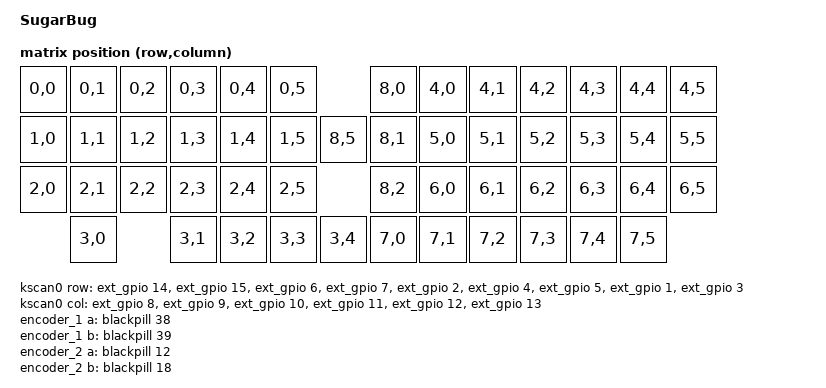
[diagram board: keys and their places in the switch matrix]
/*
 * Copyright (c) 2022 The ZMK Contributors
 *
 * SPDX-License-Identifier: MIT
 */

/dts-v1/;
#include <dt-bindings/zmk/matrix_transform.h>
#include <nordic/nrf52840_qiaa.dtsi>
#include "blackpill_pins.dtsi"
#include <dt-bindings/led/led.h>

/ {
    model = "SugarBug";
    compatible = "sugarbug";

    chosen {
        zephyr,code-partition = &code_partition;
        zephyr,sram = &sram0;
        zephyr,flash = &flash0;
        zephyr,console = &cdc_acm_uart;
        zephyr,display = &oled;
        zmk,kscan = &kscan0;
        zmk,matrix_transform = &default_transform;
        zmk,battery = &vbatt;
        zmk,underglow = &led_strip;
    };

    leds {
        compatible = "gpio-leds";
        blue_led: led_0 {
            gpios = <&gpio0 20 GPIO_ACTIVE_LOW>;
            label = "Blue LED";
        };
    };
    
    ext-power {
        compatible = "zmk,ext-power-generic";
        label = "EXT_POWER";
        control-gpios = <&gpio1 7 GPIO_ACTIVE_LOW>;
        init-delay-ms = <50>;
    };

    vbatt: vbatt {
        compatible = "zmk,battery-voltage-divider";
        label = "BATTERY";
        io-channels = <&adc 2>;
        output-ohms = <2000000>;
        full-ohms = <(2000000 + 820000)>;
    };
    
    kscan0: kscan {
        compatible = "zmk,kscan-gpio-matrix";
        label = "KSCAN";

        diode-direction = "row2col";
        debounce-scan-period-ms = <10>;
        row-gpios
            = <&ext_gpio 14 (GPIO_ACTIVE_LOW)>
            , <&ext_gpio 15 (GPIO_ACTIVE_LOW)>
            , <&ext_gpio 6  (GPIO_ACTIVE_LOW)>
            , <&ext_gpio 7  (GPIO_ACTIVE_LOW)>
            , <&ext_gpio 2  (GPIO_ACTIVE_LOW)>
            , <&ext_gpio 4  (GPIO_ACTIVE_LOW)>
            , <&ext_gpio 5  (GPIO_ACTIVE_LOW)>
            , <&ext_gpio 1  (GPIO_ACTIVE_LOW)>
            , <&ext_gpio 3  (GPIO_ACTIVE_LOW)>
            ;
        col-gpios
            = <&ext_gpio 8  (GPIO_ACTIVE_LOW | GPIO_PULL_UP)>
            , <&ext_gpio 9  (GPIO_ACTIVE_LOW | GPIO_PULL_UP)>
            , <&ext_gpio 10 (GPIO_ACTIVE_LOW | GPIO_PULL_UP)>
            , <&ext_gpio 11 (GPIO_ACTIVE_LOW | GPIO_PULL_UP)>
            , <&ext_gpio 12 (GPIO_ACTIVE_LOW | GPIO_PULL_UP)>
            , <&ext_gpio 13 (GPIO_ACTIVE_LOW | GPIO_PULL_UP)>
            ;
    };

    default_transform: keymap_transform_0 {
        compatible = "zmk,matrix-transform";
        columns = <6>;
        rows = <9>;
        map = <
            RC(0,0) RC(0,1) RC(0,2) RC(0,3) RC(0,4) RC(0,5)                 RC(8,0) RC(4,0) RC(4,1) RC(4,2) RC(4,3) RC(4,4) RC(4,5)
            RC(1,0) RC(1,1) RC(1,2) RC(1,3) RC(1,4) RC(1,5)         RC(8,5) RC(8,1) RC(5,0) RC(5,1) RC(5,2) RC(5,3) RC(5,4) RC(5,5)
            RC(2,0) RC(2,1) RC(2,2) RC(2,3) RC(2,4) RC(2,5)                 RC(8,2) RC(6,0) RC(6,1) RC(6,2) RC(6,3) RC(6,4) RC(6,5)
                    RC(3,0)         RC(3,1) RC(3,2) RC(3,3) RC(3,4) RC(7,0) RC(7,1) RC(7,2) RC(7,3) RC(7,4)         RC(7,5) 
        >;
    };

    encoder_1: encoder_1 {
        compatible = "alps,ec11";
        label = "Encoder 1";
        a-gpios = <&blackpill 38 (GPIO_ACTIVE_LOW | GPIO_PULL_UP)>;
        b-gpios = <&blackpill 39 (GPIO_ACTIVE_LOW | GPIO_PULL_UP)>;
        resolution = <4>;
        status = "disabled";
    };
    
    encoder_2: encoder_2 {
        compatible = "alps,ec11";
        label = "Encoder 2";
        a-gpios = <&blackpill 12 (GPIO_ACTIVE_LOW | GPIO_PULL_UP)>;
        b-gpios = <&blackpill 18 (GPIO_ACTIVE_LOW | GPIO_PULL_UP)>;
        resolution = <4>;
        status = "disabled";
    };

    encoder_3: encoder_3 {
		compatible = "alps,ec11";
		label = "Encoder 3";
		a-gpios = <&blackpill 45 (GPIO_ACTIVE_LOW | GPIO_PULL_UP)>;
		b-gpios = <&blackpill 46 (GPIO_ACTIVE_LOW | GPIO_PULL_UP)>;
		resolution = <4>;
		status = "disabled";
	};


	encoder_4: encoder_4 {
		compatible = "alps,ec11";
		label = "Encoder 4";
		a-gpios = <&blackpill 4 (GPIO_ACTIVE_LOW | GPIO_PULL_UP)>;
		b-gpios = <&blackpill 3 (GPIO_ACTIVE_LOW | GPIO_PULL_UP)>;
		resolution = <2>;
		status = "disabled";
	};

};

&adc {
    status = "okay";
};

&gpiote {
    status = "okay";
};

&gpio0 {
    status = "okay";
};

&gpio1 {
    status = "okay";
};

&uart0 {
    compatible = "nordic,nrf-uarte";
    tx-pin = <6>;
    rx-pin = <8>;
};

&usbd {
    status = "okay";
    cdc_acm_uart: cdc_acm_uart {
        compatible = "zephyr,cdc-acm-uart";
        label = "CDC_ACM_0";
    };
};


&flash0 {
    /*
     * For more information, see:
     * http://docs.zephyrproject.org/latest/devices/dts/flash_partitions.html
     */
    partitions {
        compatible = "fixed-partitions";
        #address-cells = <1>;
        #size-cells = <1>;

        sd_partition: partition@0 {
            label = "mbr";
            reg = <0x00000000 0x00001000>;
        };

        code_partition: partition@1000 {
            label = "code_partition";
            reg = <0x00001000 0x000d3000>;
        };

        /*
         * The flash starting at 0x000d4000 and ending at
         * 0x000f3fff is reserved for use by the application.
         */

        /*
         * Storage partition will be used by FCB/LittleFS/NVS
         * if enabled.
         */
        storage_partition: partition@d4000 {
            label = "storage";
            reg = <0x000d4000 0x00020000>;
        };

        boot_partition: partition@f4000 {
            label = "adafruit_boot";
            reg = <0x000f4000 0x0000c000>;
        };
    };
};

&spi1 {
	compatible = "nordic,nrf-spim";
	status = "okay";
	mosi-pin = <36>;
	// Unused pins, needed for SPI definition, but not used by the ws2812 driver itself.
	sck-pin = <27>;
	miso-pin = <28>;
    cs-gpios = <&gpio0 3 GPIO_ACTIVE_HIGH>;

	led_strip: ws2812@0 {
		compatible = "worldsemi,ws2812-spi";
		label = "WS2812";

		/* SPI */
		reg = <0>; /* ignored, but necessary for SPI bindings */
		spi-max-frequency = <4000000>;

		/* WS2812 */
		chain-length = <10>; /* number of LEDs */
		spi-one-frame = <0x70>;
		spi-zero-frame = <0x40>;

		color-mapping = <LED_COLOR_ID_GREEN LED_COLOR_ID_RED LED_COLOR_ID_BLUE>;
	};
};

&spi2 {
    compatible = "nordic,nrf-spim";
    status = "okay";
    sck-pin = <40>;
    mosi-pin = <11>;
    miso-pin = <26>;

    cs-gpios = <&gpio0 2 GPIO_ACTIVE_HIGH>;

    trackpad@2 {
        compatible = "cirque,pinnacle";
        label = "cirque";
        status = "okay";
        reg = <0>;
        spi-max-frequency = <10000000>;
        dr-gpios = <&gpio1 14 GPIO_ACTIVE_HIGH>;
        invert-x;
        sleep;
        /* no-taps; */
    };
};

&i2c0 {
    compatible = "nordic,nrf-twi";
    sda-pin = <15>;
    scl-pin = <13>;

	status = "okay";
	clock-frequency = <I2C_BITRATE_FAST>;

	ext_gpio: mcp230xx@20 {
		compatible = "microchip,mcp230xx";
		status = "okay";
		gpio-controller;
		reg = <0x20>;
		label = "EXT_GPIO";
		#gpio-cells = <2>;
		ngpios = <16>;
	};
    
	oled: ssd1306@3c {
		compatible = "solomon,ssd1306fb";
        status = "okay";
		reg = <0x3c>;
		label = "DISPLAY";
		width = <128>;
		height = <64>;
		segment-offset = <0>;
		page-offset = <0>;
		display-offset = <0>;
		multiplex-ratio = <63>;
		prechargep = <0x22>;
	};
};
